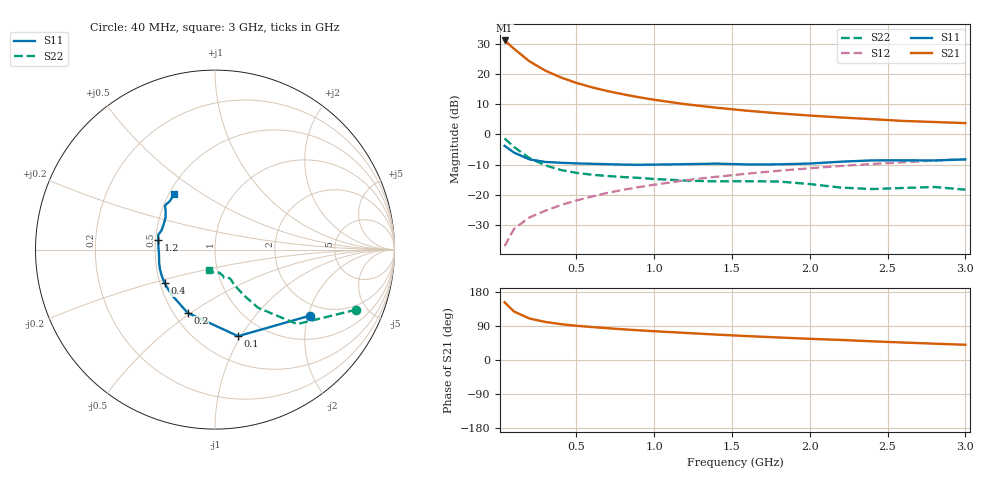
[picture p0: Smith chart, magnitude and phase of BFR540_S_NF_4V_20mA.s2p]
! Filename:  BFR540C.S2P  Version:  3.0
! Philips part #: BFR540  Date: Feb 1992
! Bias condition: Vce=4V, Ic=20mA
#  MHz  S  MA  R  50
! Freq  S11  S21  S12  S22  !GUM [dB]
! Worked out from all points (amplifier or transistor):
!   21 points, 40 MHz to 3 GHz, reference 50 ohm
!   highest |S21| = 31.1 dB at 40 MHz (marker M1)
!   |S21| within 3 dB of that: start of sweep to 105.9 MHz
!   unconditionally stable (mu >= 1): 782.8 MHz to 2.77 GHz
!   at 300 MHz: K = 0.85, MSG = 23.3 dB, |S12| = -25.4 dB
!   at 1 GHz: K = 1.02, MAG = 13.2 dB, |S12| = -16.7 dB
!   at 3 GHz: K = 0.99, MSG = 6.0 dB, |S12| = -8.2 dB
!   lowest NFmin = 1.50 dB at 900 MHz
!   S11 on the Smith chart (normalised r, x): 40 MHz: 1.64, -2.06; 100 MHz: 0.76, -0.97; 200 MHz: 0.59, -0.49; 400 MHz: 0.53, -0.22; 1.2 GHz: 0.52, +0.06; 3 GHz: 0.53, +0.39
40  0.645 -34.8  36 152.2  0.014 75.1  0.856 -23.0
100  0.499 -75.1  26.23 128.0  0.027 64.5  0.618 -42.2
200  0.384 -113.4  16.21 109.4  0.042 63.1  0.403 -53.5
300  0.349 -133.8  11.44 100.5  0.054 65.2  0.307 -57.4
400  0.338 -146.2  8.8 94.7  0.067 66.9  0.257 -59.6
500  0.33 -154.8  7.14 90.4  0.08 68.5  0.23 -60.8
600  0.325 -161.1  6.029 87.0  0.093 69.2  0.214 -61.5
700  0.32 -166.5  5.218 83.9  0.107 69.7  0.204 -61.8
800  0.315 -171.5  4.618 81.0  0.12 69.8  0.196 -61.8
900  0.313 -176.5  4.132 78.4  0.133 69.8  0.19 -62.0
1000  0.315 178.8  3.742 76.0  0.146 69.7  0.182 -62.5
1200  0.32 170.7  3.164 71.5  0.173 68.8  0.171 -65.4
1400  0.327 165.5  2.763 67.1  0.198 67.8  0.166 -69.2
1600  0.317 160.6  2.46 63.1  0.223 66.8  0.167 -70.0
1800  0.318 154.6  2.23 59.4  0.249 65.6  0.165 -72.0
2000  0.328 147.2  2.05 55.9  0.274 64.1  0.15 -73.6
2200  0.352 141.4  1.904 52.9  0.299 62.8  0.131 -79.3
2400  0.37 138.9  1.784 49.3  0.323 61.1  0.124 -90.4
2600  0.371 137.3  1.669 46.1  0.344 59.5  0.129 -99.9
2800  0.369 133.2  1.601 43.1  0.368 58.0  0.134 -103.4
3000  0.384 126.2  1.535 40.2  0.39 56.3  0.121 -106.3
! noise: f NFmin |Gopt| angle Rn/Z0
900  1.5  0.222  156  0.13
2000  2.2  0.398  -148  0.16
